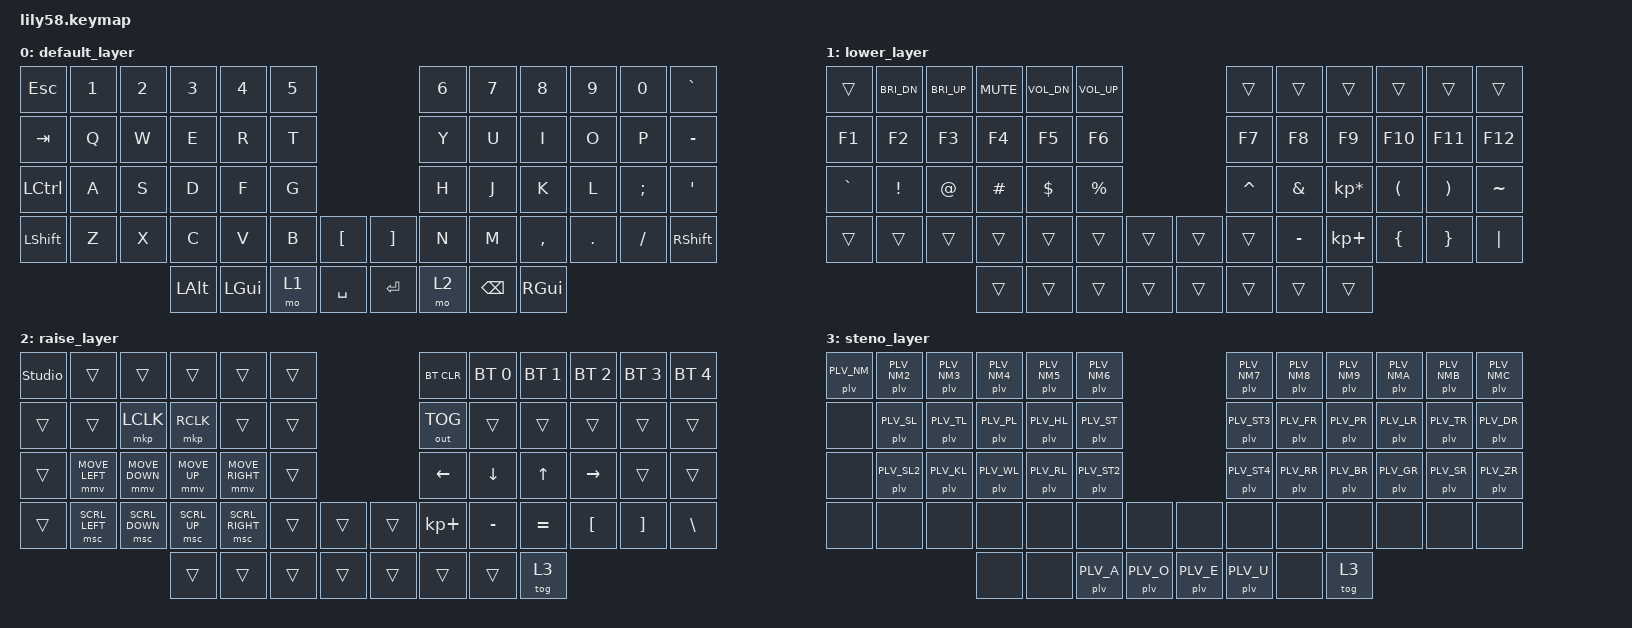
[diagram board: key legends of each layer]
/*
 * Copyright (c) 2020 The ZMK Contributors
 *
 * SPDX-License-Identifier: MIT
 */

#include <behaviors.dtsi>
#include <dt-bindings/zmk/keys.h>
#include <dt-bindings/zmk/bt.h>
#include <dt-bindings/zmk/outputs.h>
#include <dt-bindings/zmk/ext_power.h>
#include <dt-bindings/zmk/pointing.h>
#include <dt-bindings/zmk/hid-io/plover_hid.h>
#include <behaviors/plover_hid.dtsi>

#define ZMK_POINTING_DEFAULT_MOVE_VAL 1500  // default: 600
#define ZMK_POINTING_DEFAULT_SCRL_VAL 20    // default: 10

/ {
    keymap {
        compatible = "zmk,keymap";

        default_layer {
// ------------------------------------------------------------------------------------------------------------
// |  ESC  |  1  |  2  |  3   |  4   |  5   |                   |  6   |  7    |  8    |  9   |   0   |   `   |
// |  TAB  |  Q  |  W  |  E   |  R   |  T   |                   |  Y   |  U    |  I    |  O   |   P   |   -   |
// |  CTRL |  A  |  S  |  D   |  F   |  G   |                   |  H   |  J    |  K    |  L   |   ;   |   '   |
// | SHIFT |  Z  |  X  |  C   |  V   |  B   |   "["  |  |  "]"  |  N   |  M    |  ,    |  .   |   /   | SHIFT |
//                     | ALT  | GUI  | LOWER|  SPACE |  | ENTER | RAISE| BSPC  | GUI   |
            bindings = <
&kp ESC   &kp N1 &kp N2 &kp N3   &kp N4   &kp N5                     &kp N6 &kp N7   &kp N8    &kp N9  &kp N0   &kp GRAVE
&kp TAB   &kp Q  &kp W  &kp E    &kp R    &kp T                      &kp Y  &kp U    &kp I     &kp O   &kp P    &kp MINUS
&kp LCTRL &kp A  &kp S  &kp D    &kp F    &kp G                      &kp H  &kp J    &kp K     &kp L   &kp SEMI &kp SQT
&kp LSHFT &kp Z  &kp X  &kp C    &kp V    &kp B  &kp LBKT   &kp RBKT &kp N  &kp M    &kp COMMA &kp DOT &kp FSLH &kp RSHFT
                        &kp LALT &kp LGUI &mo 1  &kp SPACE  &kp RET  &mo 2  &kp BSPC &kp RGUI
            >;
        };

        lower_layer {
// ------------------------------------------------------------------------------------------------------------
// |       | BRDn | BRUp |  MUT |  Vo- |  Vo+ |                   |      |       |       |      |       |       |
// |  F1   |  F2  |  F3  |  F4  |  F5  |  F6  |                   |  F7  |  F8   |  F9   |  F10 |  F11  |  F12  |
// |   `   |  !   |  @   |  #   |  $   |  %   |                   |  ^   |  &    |  *    |  (   |   )   |   ~   |
// |       |      |      |      |      |      |        |  |       |      |  _    |  +    |  {   |   }   |  "|"  |
//                       |      |      |      |        |  |       |      |       |       |
            bindings = <
&trans     &kp C_BRI_DN     &kp C_BRI_UP      &kp C_MUTE        &kp C_VOL_DN &kp C_VOL_UP                 &trans    &trans    &trans          &trans    &trans    &trans
&kp F1     &kp F2           &kp F3            &kp F4            &kp F5       &kp F6                       &kp F7    &kp F8    &kp F9          &kp F10   &kp F11   &kp F12
&kp GRAVE  &kp EXCL         &kp AT            &kp HASH          &kp DOLLAR   &kp PRCNT                    &kp CARET &kp AMPS  &kp KP_MULTIPLY &kp LPAR  &kp RPAR  &kp TILDE
&trans     &trans           &trans            &trans            &trans       &trans    &trans   &trans    &trans    &kp MINUS &kp KP_PLUS     &kp LBRC  &kp RBRC  &kp PIPE
                                              &trans            &trans       &trans    &trans   &trans    &trans    &trans    &trans
            >;
        };

        raise_layer {
// ------------------------------------------------------------------------------------------------------------
// |       |     |     |      |      |      |                   | Bt clear | Bt 0 | Bt 1 | Bt 2 | Bt 3 | Bt 4 |
// |   `   |  1  |  2  |  3   |  4   |  5   |                   | USB/BLE  |      |      |      |      |      |
// |   F1  |  F2 |  F3 |  F4  |  F5  |  F6  |                   |          |  <-  |  v   |  ^   |  ->  |      |
// |   F7  |  F8 |  F9 |  F10 |  F11 |  F12 |        |  |       |    +     |  -   |  =   |  [   |  ]   |  \   |
//                     |      |      |      |        |  |       |          |      |      | STENO |
            bindings = <
&studio_unlock &trans           &trans           &trans         &trans            &trans                   &bt BT_CLR  &bt BT_SEL 0     &bt BT_SEL 1      &bt BT_SEL 2      &bt BT_SEL 3 &bt BT_SEL 4
&trans         &trans           &mkp LCLK        &mkp RCLK      &trans            &trans                   &out OUT_TOG &trans          &trans            &trans            &trans       &trans
&trans         &mmv MOVE_LEFT   &mmv MOVE_DOWN   &mmv MOVE_UP   &mmv MOVE_RIGHT   &trans                   &kp LEFT    &kp DOWN         &kp UP            &kp RIGHT         &trans       &trans
&trans         &msc SCRL_LEFT   &msc SCRL_DOWN   &msc SCRL_UP   &msc SCRL_RIGHT   &trans   &trans   &trans &kp KP_PLUS &kp MINUS        &kp EQUAL         &kp LBKT          &kp RBKT     &kp BSLH
                                                 &trans         &trans            &trans   &trans   &trans &trans      &trans           &tog 3
            >;
        };

        steno_layer {
// ------------------------------------------------------------------------------------------------------------
// |  #1   |  #2  |  #3  |  #4  |  #5  |  #6  |                   |  #7  |  #8   |  #9   |  #A  |  #B   |  #C   |
// |       |  S1  |  T   |  P   |  H   |  *1  |                   |  *3  |  -F   |  -P   |  -L  |  -T   |  -D   |
// |       |  S2  |  K   |  W   |  R   |  *2  |                   |  *4  |  -R   |  -B   |  -G  |  -S   |  -Z   |
// |       |      |      |      |      |      |        |  |       |      |       |       |      |       |       |
//                       |      |      |  A   |   O    |  |   E   |  U   |       | STENO |
            bindings = <
&plv PLV_NM  &plv PLV_NM2 &plv PLV_NM3 &plv PLV_NM4 &plv PLV_NM5 &plv PLV_NM6                         &plv PLV_NM7 &plv PLV_NM8 &plv PLV_NM9 &plv PLV_NMA &plv PLV_NMB &plv PLV_NMC
&none        &plv PLV_SL  &plv PLV_TL  &plv PLV_PL  &plv PLV_HL  &plv PLV_ST                          &plv PLV_ST3 &plv PLV_FR  &plv PLV_PR  &plv PLV_LR  &plv PLV_TR  &plv PLV_DR
&none        &plv PLV_SL2 &plv PLV_KL  &plv PLV_WL  &plv PLV_RL  &plv PLV_ST2                         &plv PLV_ST4 &plv PLV_RR  &plv PLV_BR  &plv PLV_GR  &plv PLV_SR  &plv PLV_ZR
&none        &none        &none        &none        &none        &none        &none        &none      &none        &none        &none        &none        &none        &none
                                       &none        &none        &plv PLV_A   &plv PLV_O   &plv PLV_E &plv PLV_U   &none        &tog 3
            >;
        };
    };
};
